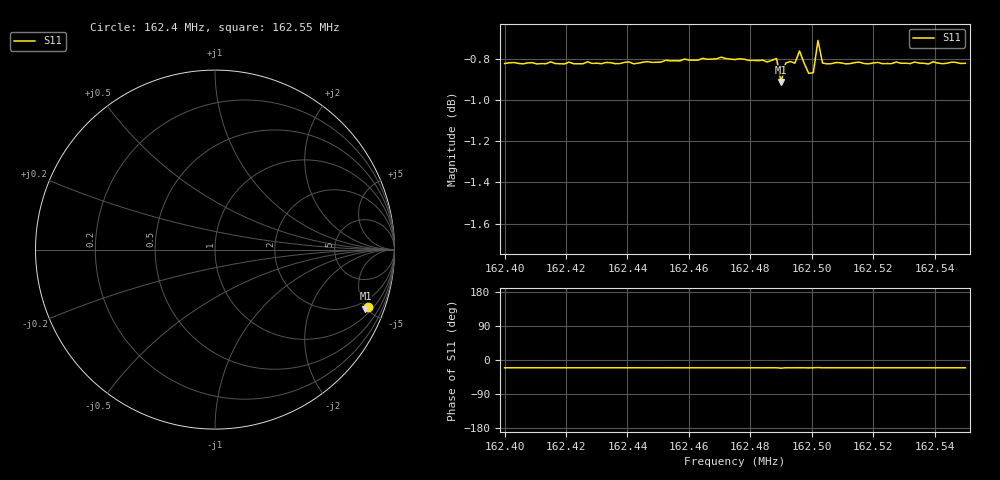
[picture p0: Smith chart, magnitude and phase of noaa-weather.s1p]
! Calibrated averaged scanner-service zoom
# Hz S RI R 50
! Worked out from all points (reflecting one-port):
!   101 points, 162.4 MHz to 162.55 MHz, reference 50 ohm
!   lowest |S11| = -0.9 dB at 162.49 MHz (marker M1), VSWR 19.08, Z = 70.4 - j245 ohm
!   phase of S11 starts at -20 deg and turns -0 deg over the sweep
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1.624e8  0.8523 -0.3182
1.624135e8  0.8521 -0.3182
1.62415e8  0.853 -0.3186
1.624195e8  0.852 -0.3183
1.62427e8  0.853 -0.3189
1.624375e8  0.8521 -0.3186
1.62457e8  0.8532 -0.3195
1.624705e8  0.8549 -0.3204
1.62475e8  0.8537 -0.32
1.624825e8  0.8532 -0.3199
1.62484e8  0.8528 -0.3216
1.624855e8  0.8527 -0.3194
1.62487e8  0.854 -0.3183
1.624885e8  0.8539 -0.3211
1.6249e8  0.8382 -0.3289
1.624915e8  0.8522 -0.3192
1.624945e8  0.852 -0.3194
1.62496e8  0.8589 -0.3187
1.62499e8  0.8459 -0.3209
1.625005e8  0.8475 -0.3176
1.62502e8  0.8669 -0.3126
1.625035e8  0.852 -0.3195
1.625125e8  0.8518 -0.3195
1.62532e8  0.8517 -0.3196
1.625335e8  0.8524 -0.32
1.62538e8  0.8515 -0.3195
1.625395e8  0.8525 -0.3201
1.6255e8  0.8517 -0.3199
